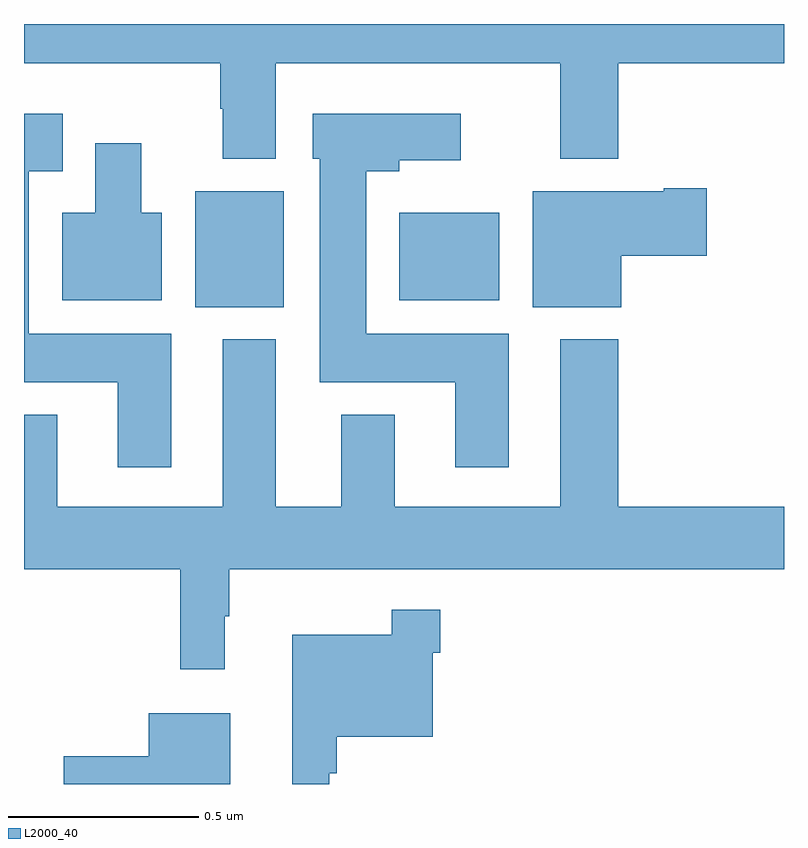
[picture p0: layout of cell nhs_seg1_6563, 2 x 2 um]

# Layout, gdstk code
import gdstk
lib = gdstk.Library(unit=1e-6, precision=1e-09)
def R(c, l, rs):  # rectangles x0, y0, x1, y1
    for r in rs: c.add(gdstk.rectangle(r[:2], r[2:], *l))
def P(c, l, *ps):  # polygons
    for p in ps: c.add(gdstk.Polygon(p, *l))
L2000_40 = (2000, 40)

nhs_seg1_6563 = lib.new_cell('nhs_seg1_6563')
R(nhs_seg1_6563, L2000_40, [(193.451,520.454,193.684,520.759), (193.988,520.472,194.251,520.702)])
P(nhs_seg1_6563, L2000_40, [(193.663,521.096),(194.411,521.096),(194.411,520.844),(194.564,520.844),(194.564,521.096),(195,521.096),(195,521.199),(193,521.199),(193,521.096),(193.516,521.096),(193.516,520.976),(193.523,520.976),(193.523,520.844),(193.663,520.844)],
  [(193.387,520.384),(193.012,520.384),(193.012,520.811),(193.102,520.811),(193.102,520.963),(193,520.963),(193,520.256),(193.247,520.256),(193.247,520.032),(193.387,520.032)],
  [(194.275,520.384),(193.9,520.384),(193.9,520.811),(193.987,520.811),(193.987,520.841),(194.149,520.841),(194.149,520.963),(193.76,520.963),(193.76,520.845),(193.778,520.845),(193.778,520.256),(194.135,520.256),(194.135,520.032),(194.275,520.032)],
  [(193.363,520.702),(193.309,520.702),(193.309,520.885),(193.187,520.885),(193.187,520.702),(193.1,520.702),(193.1,520.472),(193.363,520.472)],
  [(194.572,520.589),(194.797,520.589),(194.797,520.767),(194.684,520.767),(194.684,520.759),(194.339,520.759),(194.339,520.454),(194.572,520.454)],
  [(193.528,519.641),(193.54,519.641),(193.54,519.764),(195,519.764),(195,519.928),(194.564,519.928),(194.564,520.369),(194.411,520.369),(194.411,519.928),(193.975,519.928),(193.975,520.171),(193.835,520.171),(193.835,519.928),(193.663,519.928),(193.663,520.369),(193.523,520.369),(193.523,519.928),(193.087,519.928),(193.087,520.171),(193,520.171),(193,519.764),(193.411,519.764),(193.411,519.501),(193.528,519.501)],
  [(193.803,519.227),(193.823,519.227),(193.823,519.323),(194.076,519.323),(194.076,519.545),(194.096,519.545),(194.096,519.658),(193.968,519.658),(193.968,519.592),(193.706,519.592),(193.706,519.199),(193.803,519.199)],
  [(193.543,519.385),(193.328,519.385),(193.328,519.272),(193.104,519.272),(193.104,519.199),(193.543,519.199)])

lib.write_gds('nhs_seg1_6563.gds')
